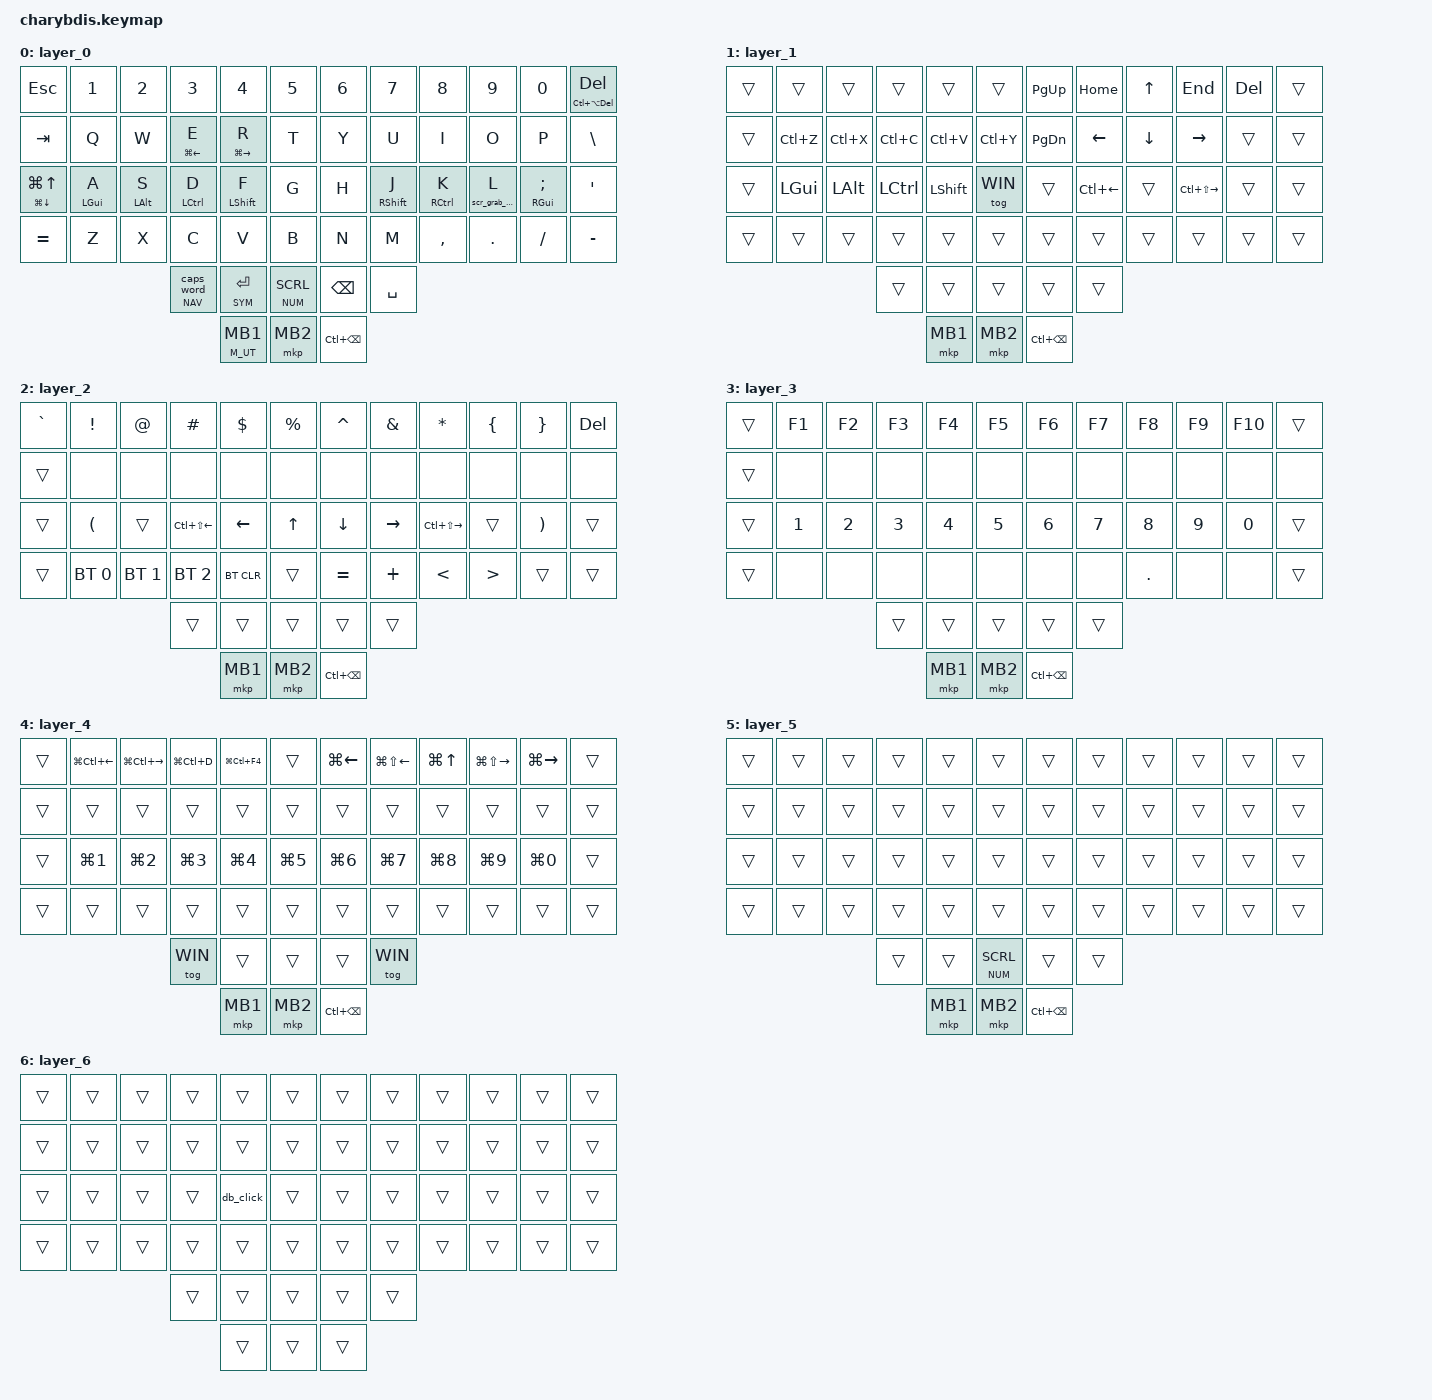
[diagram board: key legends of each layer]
#include <dt-bindings/zmk/mouse.h>
#include <behaviors.dtsi>
#include <dt-bindings/zmk/bt.h>
#include <dt-bindings/zmk/keys.h>
#include <dt-bindings/zmk/pointing.h>

#define BASE 0
#define NAV  1
#define SYM  2
#define NUM  3
#define WIN  4
#define SCRL 5
#define M_UT 6

&lt {
    tapping-term-ms = <200>;
    flavor = "tap-preferred";
    quick-tap-ms = <125>;
};

/ {
    macros {
        db_click: db_click {
            compatible = "zmk,behavior-macro";
            label = "DOUBLE_CLICK_MACRO";
            #binding-cells = <0>;
            wait-ms = <15>;
            tap-ms = <15>;
            bindings = <&mkp MB1>, <&mkp MB1>;
        };

        /* * SCROLLBAR GRAB MACRO:
         * Moves the cursor 2000 pixels to the right to hit the right edge of the window,
         * then presses and holds the left mouse button (MB1).
         */
        scr_grab_start: scr_grab_start {
            compatible = "zmk,behavior-macro";
            label = "SCR_GRAB_START";
            #binding-cells = <0>;
            wait-ms = <5>;
            tap-ms = <5>;
            bindings = <&mmv MOVE_RIGHT(100)>, <&mmv MOVE_RIGHT(100)>, 
                       <&mmv MOVE_RIGHT(100)>, <&mmv MOVE_RIGHT(100)>,
                       <&mmv MOVE_RIGHT(100)>, <&mmv MOVE_RIGHT(100)>,
                       <&mmv MOVE_RIGHT(100)>, <&mmv MOVE_RIGHT(100)>,
                       <&mmv MOVE_RIGHT(100)>, <&mmv MOVE_RIGHT(100)>,
                       <&mmv MOVE_RIGHT(100)>, <&mmv MOVE_RIGHT(100)>,
                       <&mmv MOVE_RIGHT(100)>, <&mmv MOVE_RIGHT(100)>,
                       <&mmv MOVE_RIGHT(100)>, <&mmv MOVE_RIGHT(100)>,
                       <&mmv MOVE_RIGHT(100)>, <&mmv MOVE_RIGHT(100)>,
                       <&mmv MOVE_RIGHT(100)>, <&mmv MOVE_RIGHT(100)>,
                       <&pht MB1>; // Hold Left Click
        };
    };

    behaviors {
        lt_mouse: lt_mouse {
            compatible = "zmk,behavior-hold-tap";
            label = "LT_MOUSE";
            #binding-cells = <2>;
            tapping-term-ms = <200>;
            quick-tap-ms = <150>;
            flavor = "tap-preferred";
            bindings = <&mo>, <&mkp>;
        };

        hm: homerow_mods {
            compatible = "zmk,behavior-hold-tap";
            label = "HOMEROW_MODS";
            #binding-cells = <2>;
            tapping-term-ms = <200>;
            quick-tap-ms = <125>;
            flavor = "tap-preferred";
            bindings = <&kp>, <&kp>;
        };

        /* * SPECIALIZED L-KEY BEHAVIOR
         * Allows the scrollbar macro to be used as a hold action.
         */
        hm_macro: homerow_mods_macro {
            compatible = "zmk,behavior-hold-tap";
            label = "HOMEROW_MODS_MACRO";
            #binding-cells = <2>;
            tapping-term-ms = <200>;
            quick-tap-ms = <125>;
            flavor = "tap-preferred";
            bindings = <&scr_grab_start>, <&kp>;
        };

        cw_nav: caps_word_nav {
            compatible = "zmk,behavior-hold-tap";
            label = "CAPS_WORD_NAV";
            #binding-cells = <2>;
            tapping-term-ms = <200>;
            flavor = "tap-preferred";
            bindings = <&mo>, <&caps_word>;
        };

        ent_sym: enter_sym {
            compatible = "zmk,behavior-hold-tap";
            label = "ENTER_SYM";
            #binding-cells = <2>;
            tapping-term-ms = <200>;
            flavor = "tap-preferred";
            bindings = <&mo>, <&kp>;
        };

        del_cad: del_ctrlaltdel {
            compatible = "zmk,behavior-hold-tap";
            label = "DEL_CAD";
            #binding-cells = <2>;
            tapping-term-ms = <500>;
            flavor = "tap-preferred";
            bindings = <&kp>, <&kp>;
        };

        gu_gd: gui_up_gui_down {
            compatible = "zmk,behavior-hold-tap";
            label = "GUI_UP_GUI_DOWN";
            #binding-cells = <2>;
            tapping-term-ms = <200>;
            flavor = "tap-preferred";
            bindings = <&kp>, <&kp>;
        };

        e_snap: e_snap_left {
            compatible = "zmk,behavior-hold-tap";
            label = "E_SNAP_LEFT";
            #binding-cells = <2>;
            tapping-term-ms = <200>;
            flavor = "tap-preferred";
            bindings = <&kp>, <&kp>;
        };

        r_snap: r_snap_right {
            compatible = "zmk,behavior-hold-tap";
            label = "R_SNAP_RIGHT";
            #binding-cells = <2>;
            tapping-term-ms = <200>;
            flavor = "tap-preferred";
            bindings = <&kp>, <&kp>;
        };

        scrl_num: scroll_num {
            compatible = "zmk,behavior-hold-tap";
            label = "SCROLL_NUM";
            #binding-cells = <2>;
            tapping-term-ms = <200>;
            flavor = "tap-preferred";
            bindings = <&mo>, <&tog>;
        };
    };

    keymap {
        compatible = "zmk,keymap";

        layer_0 {
            bindings = <
&kp ESC                 &kp N1      &kp N2          &kp N3          &kp N4          &kp N5      &kp N6     &kp N7       &kp N8      &kp N9      &kp N0        &del_cad LC(LA(DEL)) DEL
&kp TAB                 &kp Q       &kp W           &e_snap LG(LEFT) E   &r_snap LG(RIGHT) R     &kp T       &kp Y      &kp U        &kp I       &kp O       &kp P         &kp BSLH
&gu_gd LG(DOWN) LG(UP) &hm LGUI A  &hm LALT S      &hm LCTRL D    &hm LSHFT F    &kp G       &kp H      &hm RSHFT J  &hm RCTRL K &hm_macro 0 L &hm RGUI SEMI &kp SQT
&kp EQUAL               &kp Z       &kp X           &kp C          &kp V          &kp B       &kp N      &kp M        &kp COMMA   &kp DOT     &kp FSLH      &kp MINUS
                                                                  &cw_nav NAV 0  &ent_sym SYM ENTER  &scrl_num NUM SCRL &kp BSPC &kp SPACE
                                                                                 &lt_mouse M_UT MB1  &mkp MB2    &kp LC(BSPC)
            >;
            trackball-bindings = <&tmv_coarse>;
        };

        layer_1 {
            bindings = <
&trans     &trans      &trans      &trans          &trans          &trans      &kp PG_UP  &kp HOME     &kp UP      &kp END     &kp DEL       &trans
&trans     &kp LC(Z)   &kp LC(X)   &kp LC(C)       &kp LC(V)       &kp LC(Y)   &kp PG_DN  &kp LEFT     &kp DOWN    &kp RIGHT   &trans        &trans
&trans     &kp LGUI    &kp LALT    &kp LCTRL       &kp LSHFT       &tog WIN    &trans     &kp LC(LEFT) &trans      &kp LC(LS(RIGHT)) &trans      &trans
&trans     &trans      &trans      &trans          &trans          &trans      &trans     &trans       &trans      &trans      &trans        &trans
                                   &trans          &trans          &trans      &trans     &trans
                                                   &mkp MB1        &mkp MB2    &kp LC(BSPC)
            >;
            trackball-bindings = <&tmv_coarse>;
        };

        layer_2 {
            bindings = <
&kp GRAVE  &kp EXCL     &kp AT      &kp HASH       &kp DLLR       &kp PRCNT   &kp CARET  &kp AMPS     &kp STAR    &kp LBRC    &kp RBRC      &kp DEL
&trans     &none        &none       &none          &none          &none       &none      &none        &none       &none       &none         &none
&trans     &kp LPAR     &trans      &kp LC(LS(LEFT)) &kp LEFT        &kp UP      &kp DOWN   &kp RIGHT    &kp LC(LS(RIGHT)) &trans    &kp RPAR      &trans
&trans     &bt BT_SEL 0 &bt BT_SEL 1 &bt BT_SEL 2  &bt BT_CLR      &trans      &kp EQUAL  &kp PLUS     &kp LT      &kp GT      &trans        &trans
                                   &trans          &trans          &trans      &trans     &trans
                                                   &mkp MB1        &mkp MB2    &kp LC(BSPC)
            >;
        };

        layer_3 {
            bindings = <
&trans     &kp F1      &kp F2      &kp F3          &kp F4          &kp F5      &kp F6     &kp F7       &kp F8      &kp F9      &kp F10       &trans
&trans     &none        &none       &none          &none          &none       &none      &none        &none       &none       &none         &none
&trans     &kp N1      &kp N2      &kp N3          &kp N4          &kp N5      &kp N6     &kp N7       &kp N8      &kp N9      &kp N0        &trans
&trans     &none        &none       &none          &none          &none       &none      &none        &kp DOT     &none       &none         &trans
                                   &trans          &trans          &trans      &trans     &trans
                                                   &mkp MB1        &mkp MB2    &kp LC(BSPC)
            >;
            trackball-bindings = <&tsl>;
        };

        layer_4 {
            bindings = <
&trans     &kp LG(LC(LEFT)) &kp LG(LC(RIGHT)) &kp LG(LC(D)) &kp LG(LC(F4)) &trans    &kp LG(LEFT) &kp LG(LS(LEFT)) &kp LG(UP) &kp LG(LS(RIGHT)) &kp LG(RIGHT) &trans
&trans     &trans            &trans            &trans        &trans         &trans     &trans       &trans           &trans     &trans            &trans        &trans
&trans     &kp LG(N1)       &kp LG(N2)        &kp LG(N3)    &kp LG(N4)     &kp LG(N5) &kp LG(N6)   &kp LG(N7)       &kp LG(N8) &kp LG(N9)        &kp LG(N0)    &trans
&trans     &trans            &trans            &trans        &trans         &trans     &trans       &trans           &trans     &trans            &trans        &trans
                                              &tog WIN      &trans         &trans     &trans       &tog WIN
                                                            &mkp MB1       &mkp MB2   &kp LC(BSPC)
            >;
        };

        layer_5 {
            bindings = <
&trans     &trans      &trans      &trans          &trans          &trans      &trans     &trans       &trans      &trans      &trans        &trans
&trans     &trans      &trans      &trans          &trans          &trans      &trans     &trans       &trans      &trans      &trans        &trans
&trans     &trans      &trans      &trans          &trans          &trans      &trans     &trans       &trans      &trans      &trans        &trans
&trans     &trans      &trans      &trans          &trans          &trans      &trans     &trans       &trans      &trans      &trans        &trans
                                   &trans          &trans          &scrl_num NUM SCRL &trans     &trans
                                                   &mkp MB1        &mkp MB2    &kp LC(BSPC)
            >;
            trackball-bindings = <&tsl>;
        };

        layer_6 {
            bindings = <
&trans     &trans      &trans      &trans          &trans          &trans      &trans     &trans       &trans      &trans      &trans        &trans
&trans     &trans      &trans      &trans          &trans          &trans      &trans     &trans       &trans      &trans      &trans        &trans
&trans     &trans      &trans      &trans          &db_click        &trans      &trans     &trans       &trans      &trans      &trans        &trans
&trans     &trans      &trans      &trans          &trans          &trans      &trans     &trans       &trans      &trans      &trans        &trans
                                   &trans          &trans          &trans      &trans     &trans
                                                   &trans          &trans      &trans
            >;
        };
    };
};
